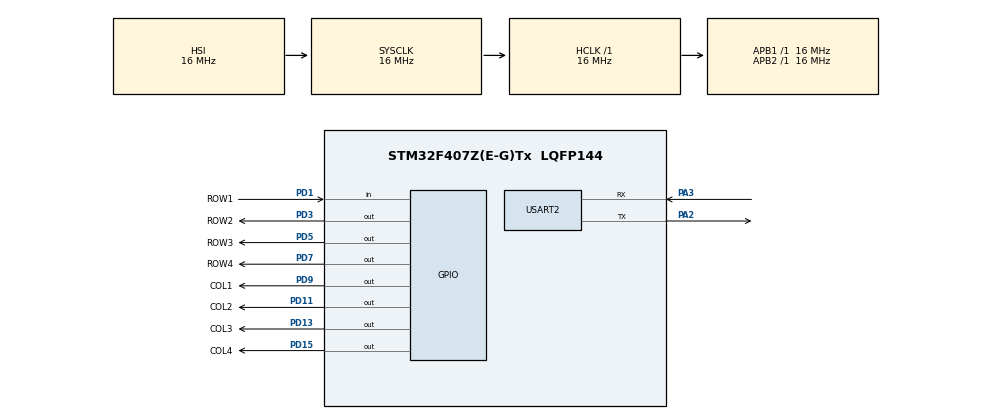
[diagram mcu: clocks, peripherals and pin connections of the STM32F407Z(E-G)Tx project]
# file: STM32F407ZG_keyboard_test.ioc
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Mcu.Family=STM32F4
Mcu.Name=STM32F407Z(E-G)Tx
Mcu.Package=LQFP144
NVIC.PriorityGroup=NVIC_PRIORITYGROUP_4
PA2.Mode=Asynchronous
PA2.Signal=USART2_TX
PA3.Mode=Asynchronous
PA3.Signal=USART2_RX
PD1.GPIO_Label=ROW1
PD1.Signal=GPIO_Input
PD11.GPIO_Label=COL2
PD11.Signal=GPIO_Output
PD13.GPIO_Label=COL3
PD13.Signal=GPIO_Output
PD15.GPIO_Label=COL4
PD15.Signal=GPIO_Output
PD3.GPIO_Label=ROW2
PD3.Signal=GPIO_Output
PD5.GPIO_Label=ROW3
PD5.Signal=GPIO_Output
PD7.GPIO_Label=ROW4
PD7.Signal=GPIO_Output
PD9.GPIO_Label=COL1
PD9.Signal=GPIO_Output
ProjectManager.HeapSize=0x200
ProjectManager.StackSize=0x400
ProjectManager.TargetToolchain=STM32CubeIDE
RCC.AHBFreq_Value=16000000
RCC.APB1Freq_Value=16000000
RCC.APB2Freq_Value=16000000
RCC.CortexFreq_Value=16000000
RCC.HSE_VALUE=25000000
RCC.HSI_VALUE=16000000
RCC.LSE_VALUE=32768
RCC.SYSCLKFreq_VALUE=16000000
RCC.VCOOutputFreq_Value=192000000
USART2.VirtualMode=VM_ASYNC
board=custom

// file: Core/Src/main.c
/* USER CODE BEGIN Header */
/**
  ******************************************************************************
  * @file           : main.c
  * @brief          : Main program body
  ******************************************************************************
  * @attention
  *
  * <h2><center>&copy; Copyright (c) 2022 STMicroelectronics.
  * All rights reserved.</center></h2>
  *
  * This software component is licensed by ST under BSD 3-Clause license,
  * the "License"; You may not use this file except in compliance with the
  * License. You may obtain a copy of the License at:
  *                        opensource.org/licenses/BSD-3-Clause
  *
  ******************************************************************************
  */
/* USER CODE END Header */
#include "main.h"

/* USER CODE BEGIN PD */
uint32_t ButtonState = 0;
/* USER CODE END PD */

UART_HandleTypeDef huart2;

void SystemClock_Config(void);
static void MX_GPIO_Init(void);
static void MX_USART2_UART_Init(void);

int main(void)
{

  /* MCU Configuration--------------------------------------------------------*/

  /* Reset of all peripherals, Initializes the Flash interface and the Systick. */
  HAL_Init();

  /* Configure the system clock */
  SystemClock_Config();

  /* Initialize all configured peripherals */
  MX_GPIO_Init();
  MX_USART2_UART_Init();

  /* Infinite loop */
  /* USER CODE BEGIN WHILE */
  while (1)
    {
  	  //0  1  2  3  {+1}
  		//4  5  6  7  {+1}
  		//8  9  10 11 {+1}
  		//12 13 14 15 {+1}
  		const int rows_count = 4;
  		const int columns_count = 4;
  		GPIO_TypeDef* row_ports[] = {ROW1_GPIO_Port, ROW2_GPIO_Port, ROW3_GPIO_Port, ROW4_GPIO_Port};
  		uint16_t row_pins[] = {ROW1_Pin, ROW2_Pin, ROW3_Pin, ROW4_Pin};
  		GPIO_TypeDef* column_ports[] = {COL1_GPIO_Port, COL2_GPIO_Port, COL3_GPIO_Port, COL4_GPIO_Port};
  		uint16_t column_pins[] = {COL1_Pin, COL2_Pin, COL3_Pin, COL4_Pin};
  		for (int i = 0; i < columns_count; i++) {
  			for (int j = 0; j < columns_count; j++) {
  				HAL_GPIO_WritePin(column_ports[j], column_pins[j], (i==j) ? GPIO_PIN_RESET : GPIO_PIN_SET);  //Pull low
  			}
  			for (int j = 0; j < rows_count; j++) {
  				if (HAL_GPIO_ReadPin(row_ports[j], row_pins[j]) == GPIO_PIN_RESET) {  // if the Col j is high
  					//while ((HAL_GPIO_ReadPin(row_ports[j], row_pins[j])));   // wait till the button is pressed
  					ButtonState = j * rows_count + i + 1;
  				}
  				HAL_Delay(1);
  			}
  		}
  	  char buff[256] = {0,};
  	  sprintf(buff, "%d\n", ButtonState);
  	  HAL_UART_Transmit(&huart2, (uint8_t*)buff, strlen(buff), 10000);
  	  ButtonState = 0;
    /* USER CODE END WHILE */

  }
}

void SystemClock_Config(void)
{
  RCC_OscInitTypeDef RCC_OscInitStruct = {0};
  RCC_ClkInitTypeDef RCC_ClkInitStruct = {0};

  /** Configure the main internal regulator output voltage
  */
  __HAL_RCC_PWR_CLK_ENABLE();
  __HAL_PWR_VOLTAGESCALING_CONFIG(PWR_REGULATOR_VOLTAGE_SCALE1);

  /** Initializes the RCC Oscillators according to the specified parameters
  * in the RCC_OscInitTypeDef structure.
  */
  RCC_OscInitStruct.OscillatorType = RCC_OSCILLATORTYPE_HSI;
  RCC_OscInitStruct.HSIState = RCC_HSI_ON;
  RCC_OscInitStruct.HSICalibrationValue = RCC_HSICALIBRATION_DEFAULT;
  RCC_OscInitStruct.PLL.PLLState = RCC_PLL_NONE;
  if (HAL_RCC_OscConfig(&RCC_OscInitStruct) != HAL_OK)
  {
    Error_Handler();
  }

  /** Initializes the CPU, AHB and APB buses clocks
  */
  RCC_ClkInitStruct.ClockType = RCC_CLOCKTYPE_HCLK|RCC_CLOCKTYPE_SYSCLK
                              |RCC_CLOCKTYPE_PCLK1|RCC_CLOCKTYPE_PCLK2;
  RCC_ClkInitStruct.SYSCLKSource = RCC_SYSCLKSOURCE_HSI;
  RCC_ClkInitStruct.AHBCLKDivider = RCC_SYSCLK_DIV1;
  RCC_ClkInitStruct.APB1CLKDivider = RCC_HCLK_DIV1;
  RCC_ClkInitStruct.APB2CLKDivider = RCC_HCLK_DIV1;

  if (HAL_RCC_ClockConfig(&RCC_ClkInitStruct, FLASH_LATENCY_0) != HAL_OK)
  {
    Error_Handler();
  }
}

static void MX_USART2_UART_Init(void)
{

  huart2.Instance = USART2;
  huart2.Init.BaudRate = 115200;
  huart2.Init.WordLength = UART_WORDLENGTH_8B;
  huart2.Init.StopBits = UART_STOPBITS_1;
  huart2.Init.Parity = UART_PARITY_NONE;
  huart2.Init.Mode = UART_MODE_TX_RX;
  huart2.Init.HwFlowCtl = UART_HWCONTROL_NONE;
  huart2.Init.OverSampling = UART_OVERSAMPLING_16;
  if (HAL_UART_Init(&huart2) != HAL_OK)
  {
    Error_Handler();
  }

}

static void MX_GPIO_Init(void)
{
  GPIO_InitTypeDef GPIO_InitStruct = {0};

  /* GPIO Ports Clock Enable */
  __HAL_RCC_GPIOA_CLK_ENABLE();
  __HAL_RCC_GPIOD_CLK_ENABLE();

  /*Configure GPIO pin Output Level */
  HAL_GPIO_WritePin(GPIOD, COL1_Pin|COL2_Pin|COL3_Pin|COL4_Pin
                          |ROW2_Pin|ROW3_Pin|ROW4_Pin, GPIO_PIN_RESET);

  /*Configure GPIO pins : COL1_Pin COL2_Pin COL3_Pin COL4_Pin
                           ROW2_Pin ROW3_Pin ROW4_Pin */
  GPIO_InitStruct.Pin = COL1_Pin|COL2_Pin|COL3_Pin|COL4_Pin
                          |ROW2_Pin|ROW3_Pin|ROW4_Pin;
  GPIO_InitStruct.Mode = GPIO_MODE_OUTPUT_PP;
  GPIO_InitStruct.Pull = GPIO_NOPULL;
  GPIO_InitStruct.Speed = GPIO_SPEED_FREQ_LOW;
  HAL_GPIO_Init(GPIOD, &GPIO_InitStruct);

  /*Configure GPIO pin : ROW1_Pin */
  GPIO_InitStruct.Pin = ROW1_Pin;
  GPIO_InitStruct.Mode = GPIO_MODE_INPUT;
  GPIO_InitStruct.Pull = GPIO_NOPULL;
  HAL_GPIO_Init(ROW1_GPIO_Port, &GPIO_InitStruct);

}

void Error_Handler(void)
{
  __disable_irq();
  while (1)
  {
  }
}
